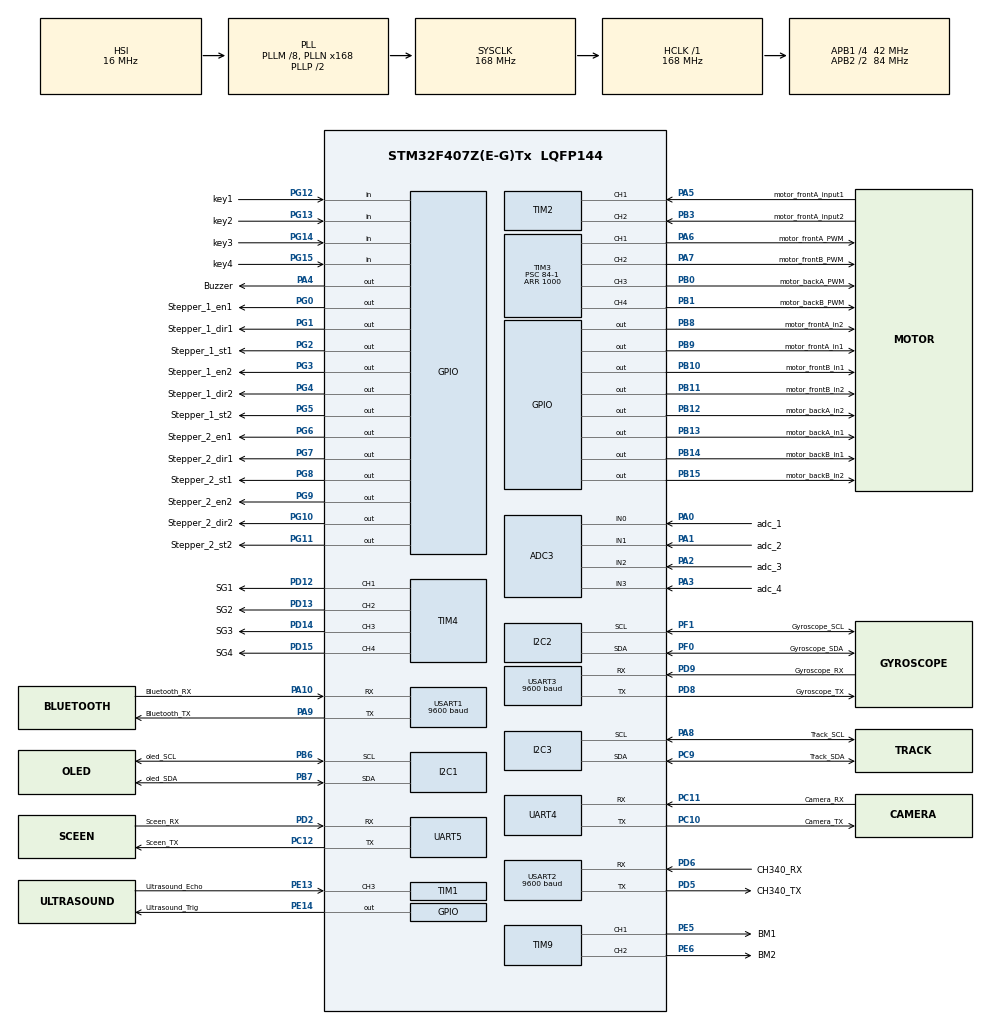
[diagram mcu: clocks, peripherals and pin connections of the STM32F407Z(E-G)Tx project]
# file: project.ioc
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ADC3.Channel-2\#ChannelRegularConversion=ADC_CHANNEL_0
ADC3.NbrOfConversionFlag=1
ADC3.Rank-2\#ChannelRegularConversion=1
ADC3.SamplingTime-2\#ChannelRegularConversion=ADC_SAMPLETIME_3CYCLES
Dma.Request0=USART1_RX
Dma.Request1=USART1_TX
Dma.USART1_RX.0.Direction=DMA_PERIPH_TO_MEMORY
Dma.USART1_RX.0.FIFOMode=DMA_FIFOMODE_DISABLE
Dma.USART1_RX.0.Instance=DMA2_Stream2
Dma.USART1_RX.0.MemDataAlignment=DMA_MDATAALIGN_BYTE
Dma.USART1_RX.0.MemInc=DMA_MINC_ENABLE
Dma.USART1_RX.0.Mode=DMA_NORMAL
Dma.USART1_RX.0.PeriphDataAlignment=DMA_PDATAALIGN_BYTE
Dma.USART1_RX.0.PeriphInc=DMA_PINC_DISABLE
Dma.USART1_RX.0.Priority=DMA_PRIORITY_LOW
Dma.USART1_TX.1.Direction=DMA_MEMORY_TO_PERIPH
Dma.USART1_TX.1.FIFOMode=DMA_FIFOMODE_DISABLE
Dma.USART1_TX.1.Instance=DMA2_Stream7
Dma.USART1_TX.1.MemDataAlignment=DMA_MDATAALIGN_BYTE
Dma.USART1_TX.1.MemInc=DMA_MINC_ENABLE
Dma.USART1_TX.1.Mode=DMA_NORMAL
Dma.USART1_TX.1.PeriphDataAlignment=DMA_PDATAALIGN_BYTE
Dma.USART1_TX.1.PeriphInc=DMA_PINC_DISABLE
Dma.USART1_TX.1.Priority=DMA_PRIORITY_LOW
Mcu.Family=STM32F4
Mcu.Name=STM32F407Z(E-G)Tx
Mcu.Package=LQFP144
NVIC.DMA2_Stream2_IRQn=true\:0\:0\:false\:false\:true\:false\:true\:true
NVIC.DMA2_Stream7_IRQn=true\:0\:0\:false\:false\:true\:false\:true\:true
NVIC.PriorityGroup=NVIC_PRIORITYGROUP_4
NVIC.TIM1_UP_TIM10_IRQn=true\:0\:0\:false\:false\:true\:true\:true\:true
NVIC.TIM2_IRQn=true\:0\:0\:false\:false\:true\:true\:true\:true
NVIC.TIM3_IRQn=true\:0\:0\:false\:false\:true\:true\:true\:true
NVIC.TIM4_IRQn=true\:0\:0\:false\:false\:true\:true\:true\:true
NVIC.TIM5_IRQn=true\:0\:0\:false\:false\:true\:true\:true\:true
NVIC.TIM6_DAC_IRQn=true\:0\:0\:false\:false\:true\:true\:true\:true
NVIC.TIM7_IRQn=true\:0\:0\:false\:false\:true\:true\:true\:true
NVIC.TIM8_UP_TIM13_IRQn=true\:0\:0\:false\:false\:true\:true\:true\:true
NVIC.UART4_IRQn=true\:0\:0\:false\:false\:true\:true\:true\:true
NVIC.UART5_IRQn=true\:0\:0\:false\:false\:true\:true\:true\:true
NVIC.USART1_IRQn=true\:0\:0\:false\:false\:true\:true\:true\:true
NVIC.USART2_IRQn=true\:0\:0\:false\:false\:true\:true\:true\:true
NVIC.USART3_IRQn=true\:0\:0\:false\:false\:true\:true\:true\:true
PA0-WKUP.GPIO_Label=adc_1
PA0-WKUP.Signal=ADCx_IN0
PA1.GPIO_Label=adc_2
PA1.Signal=ADCx_IN1
PA10.GPIO_Label=Bluetooth_RX
PA10.Mode=Asynchronous
PA10.Signal=USART1_RX
PA13.Mode=Serial_Wire
PA13.Signal=SYS_JTMS-SWDIO
PA14.Mode=Serial_Wire
PA14.Signal=SYS_JTCK-SWCLK
PA2.GPIO_Label=adc_3
PA2.Signal=ADCx_IN2
PA3.GPIO_Label=adc_4
PA3.Signal=ADCx_IN3
PA4.GPIO_Label=Buzzer
PA4.Signal=GPIO_Output
PA5.GPIO_Label=motor_frontA_input1
PA5.Signal=S_TIM2_CH1_ETR
PA6.GPIO_Label=motor_frontA_PWM
PA6.Signal=S_TIM3_CH1
PA7.GPIO_Label=motor_frontB_PWM
PA7.Signal=S_TIM3_CH2
PA8.GPIO_Label=Track_SCL
PA8.Mode=I2C
PA8.Signal=I2C3_SCL
PA9.GPIO_Label=Bluetooth_TX
PA9.Mode=Asynchronous
PA9.Signal=USART1_TX
PB0.GPIO_Label=motor_backA_PWM
PB0.Signal=S_TIM3_CH3
PB1.GPIO_Label=motor_backB_PWM
PB1.Signal=S_TIM3_CH4
PB10.GPIO_Label=motor_frontB_in1
PB10.Signal=GPIO_Output
PB11.GPIO_Label=motor_frontB_in2
PB11.Signal=GPIO_Output
PB12.GPIO_Label=motor_backA_in2
PB12.Signal=GPIO_Output
PB13.GPIO_Label=motor_backA_in1
PB13.Signal=GPIO_Output
PB14.GPIO_Label=motor_backB_in1
PB14.Signal=GPIO_Output
PB15.GPIO_Label=motor_backB_in2
PB15.Signal=GPIO_Output
PB3.GPIO_Label=motor_frontA_input2
PB3.Signal=S_TIM2_CH2
PB6.GPIO_Label=oled_SCL
PB6.Mode=I2C
PB6.Signal=I2C1_SCL
PB7.GPIO_Label=oled_SDA
PB7.Mode=I2C
PB7.Signal=I2C1_SDA
PB8.GPIO_Label=motor_frontA_in2
PB8.Signal=GPIO_Output
PB9.GPIO_Label=motor_frontA_in1
PB9.Signal=GPIO_Output
PC10.GPIO_Label=Camera_TX
PC10.GPIO_Speed=GPIO_SPEED_FREQ_VERY_HIGH
PC10.Mode=Asynchronous
PC10.Signal=UART4_TX
PC11.GPIO_Label=Camera_RX
PC11.Mode=Asynchronous
PC11.Signal=UART4_RX
PC12.GPIO_Label=Sceen_TX
PC12.Mode=Asynchronous
PC12.Signal=UART5_TX
PC14-OSC32_IN.Mode=LSE-External-Oscillator
PC14-OSC32_IN.Signal=RCC_OSC32_IN
PC15-OSC32_OUT.Mode=LSE-External-Oscillator
PC15-OSC32_OUT.Signal=RCC_OSC32_OUT
PC9.GPIO_Label=Track_SDA
PC9.Mode=I2C
PC9.Signal=I2C3_SDA
PD12.GPIO_Label=SG1
PD12.Signal=S_TIM4_CH1
PD13.GPIO_Label=SG2
PD13.Signal=S_TIM4_CH2
PD14.GPIO_Label=SG3
PD14.Signal=S_TIM4_CH3
PD15.GPIO_Label=SG4
PD15.Signal=S_TIM4_CH4
PD2.GPIO_Label=Sceen_RX
PD2.Mode=Asynchronous
PD2.Signal=UART5_RX
PD5.GPIO_Label=CH340_TX
PD5.Mode=Asynchronous
PD5.Signal=USART2_TX
PD6.GPIO_Label=CH340_RX
PD6.Mode=Asynchronous
PD6.Signal=USART2_RX
PD8.GPIO_Label=Gyroscope_TX
PD8.Mode=Asynchronous
PD8.Signal=USART3_TX
PD9.GPIO_Label=Gyroscope_RX
PD9.Mode=Asynchronous
PD9.Signal=USART3_RX
PE13.GPIO_Label=Ultrasound_Echo
PE13.Signal=S_TIM1_CH3
PE14.GPIO_Label=Ultrasound_Trig
PE14.Signal=GPIO_Output
PE5.GPIO_Label=BM1
PE5.Signal=S_TIM9_CH1
PE6.GPIO_Label=BM2
PE6.Signal=S_TIM9_CH2
PF0.GPIO_Label=Gyroscope_SDA
PF0.Mode=I2C
PF0.Signal=I2C2_SDA
PF1.GPIO_Label=Gyroscope_SCL
PF1.Mode=I2C
PF1.Signal=I2C2_SCL
PG0.GPIO_Label=Stepper_1_en1
PG0.Signal=GPIO_Output
PG1.GPIO_Label=Stepper_1_dir1
PG1.Signal=GPIO_Output
PG10.GPIO_Label=Stepper_2_dir2
PG10.Signal=GPIO_Output
PG11.GPIO_Label=Stepper_2_st2
PG11.Signal=GPIO_Output
PG12.GPIO_Label=key1
PG12.GPIO_PuPd=GPIO_PULLUP
PG12.Signal=GPIO_Input
PG13.GPIO_Label=key2
PG13.GPIO_PuPd=GPIO_PULLUP
PG13.Signal=GPIO_Input
PG14.GPIO_Label=key3
PG14.GPIO_PuPd=GPIO_PULLUP
PG14.Signal=GPIO_Input
PG15.GPIO_Label=key4
PG15.GPIO_PuPd=GPIO_PULLUP
PG15.Signal=GPIO_Input
PG2.GPIO_Label=Stepper_1_st1
PG2.Signal=GPIO_Output
PG3.GPIO_Label=Stepper_1_en2
PG3.Signal=GPIO_Output
PG4.GPIO_Label=Stepper_1_dir2
PG4.Signal=GPIO_Output
PG5.GPIO_Label=Stepper_1_st2
PG5.Signal=GPIO_Output
PG6.GPIO_Label=Stepper_2_en1
PG6.Signal=GPIO_Output
PG7.GPIO_Label=Stepper_2_dir1
PG7.Signal=GPIO_Output
PG8.GPIO_Label=Stepper_2_st1
PG8.Signal=GPIO_Output
PG9.GPIO_Label=Stepper_2_en2
PG9.Signal=GPIO_Output
PH0-OSC_IN.Mode=HSE-External-Oscillator
PH0-OSC_IN.Signal=RCC_OSC_IN
PH1-OSC_OUT.Mode=HSE-External-Oscillator
PH1-OSC_OUT.Signal=RCC_OSC_OUT
ProjectManager.HeapSize=0x200
ProjectManager.StackSize=0x400
ProjectManager.TargetToolchain=MDK-ARM V5.32
RCC.48MHZClocksFreq_Value=84000000
RCC.AHBFreq_Value=168000000
RCC.APB1CLKDivider=RCC_HCLK_DIV4
RCC.APB1Freq_Value=42000000
RCC.APB1TimFreq_Value=84000000
RCC.APB2CLKDivider=RCC_HCLK_DIV2
RCC.APB2Freq_Value=84000000
RCC.APB2TimFreq_Value=168000000
RCC.CortexFreq_Value=168000000
RCC.HCLKFreq_Value=168000000
RCC.HSE_VALUE=25000000
RCC.HSI_VALUE=16000000
RCC.PLLM=8
RCC.PLLN=168
RCC.SYSCLKFreq_VALUE=168000000
RCC.SYSCLKSource=RCC_SYSCLKSOURCE_PLLCLK
RCC.VCOOutputFreq_Value=336000000
SH.ADCx_IN0.0=ADC3_IN0,IN0
SH.ADCx_IN1.0=ADC3_IN1,IN1
SH.ADCx_IN2.0=ADC3_IN2,IN2
SH.ADCx_IN3.0=ADC3_IN3,IN3
SH.S_TIM1_CH3.0=TIM1_CH3,Input_Capture3_from_TI3
SH.S_TIM2_CH1_ETR.0=TIM2_CH1,Encoder_Interface
SH.S_TIM2_CH2.0=TIM2_CH2,Encoder_Interface
SH.S_TIM3_CH1.0=TIM3_CH1,PWM Generation1 CH1
SH.S_TIM3_CH2.0=TIM3_CH2,PWM Generation2 CH2
SH.S_TIM3_CH3.0=TIM3_CH3,PWM Generation3 CH3
SH.S_TIM3_CH4.0=TIM3_CH4,PWM Generation4 CH4
SH.S_TIM4_CH1.0=TIM4_CH1,PWM Generation1 CH1
SH.S_TIM4_CH2.0=TIM4_CH2,PWM Generation2 CH2
SH.S_TIM4_CH3.0=TIM4_CH3,PWM Generation3 CH3
SH.S_TIM4_CH4.0=TIM4_CH4,PWM Generation4 CH4
SH.S_TIM9_CH1.0=TIM9_CH1,PWM Generation1 CH1
SH.S_TIM9_CH2.0=TIM9_CH2,PWM Generation2 CH2
TIM1.Channel-Input_Capture3_from_TI3=TIM_CHANNEL_3
TIM1.Channel-Input_Capture4_from_TI3_63=TIM_CHANNEL_4
TIM2.EncoderMode=TIM_ENCODERMODE_TI12
TIM3.Channel-PWM\ Generation1\ CH1=TIM_CHANNEL_1
TIM3.Channel-PWM\ Generation2\ CH2=TIM_CHANNEL_2
TIM3.Channel-PWM\ Generation3\ CH3=TIM_CHANNEL_3
TIM3.Channel-PWM\ Generation4\ CH4=TIM_CHANNEL_4
TIM3.Period=1000
TIM3.Prescaler=84-1
TIM4.Channel-PWM\ Generation1\ CH1=TIM_CHANNEL_1
TIM4.Channel-PWM\ Generation2\ CH2=TIM_CHANNEL_2
TIM4.Channel-PWM\ Generation3\ CH3=TIM_CHANNEL_3
TIM4.Channel-PWM\ Generation4\ CH4=TIM_CHANNEL_4
TIM5.AutoReloadPreload=TIM_AUTORELOAD_PRELOAD_ENABLE
TIM5.Period=100-1
TIM5.Prescaler=84-1
TIM6.Period=100-1
TIM6.Prescaler=84-1
TIM7.Prescaler=84-1
TIM8.Period=1000-1
TIM8.Prescaler=840
TIM9.Channel-PWM\ Generation1\ CH1=TIM_CHANNEL_1
TIM9.Channel-PWM\ Generation2\ CH2=TIM_CHANNEL_2
UART4.VirtualMode=Asynchronous
UART5.VirtualMode=Asynchronous
USART1.BaudRate=9600
USART1.VirtualMode=VM_ASYNC
USART2.BaudRate=9600
USART2.VirtualMode=VM_ASYNC
USART3.BaudRate=9600
USART3.VirtualMode=VM_ASYNC
VP_TIM11_VS_ClockSourceINT.Mode=Enable_Timer
VP_TIM1_VS_ClockSourceINT.Mode=Internal
VP_TIM1_VS_indirect_ch3.Mode=Input_Capture4_from_TI3_63
VP_TIM3_VS_ClockSourceINT.Mode=Internal
VP_TIM4_VS_ClockSourceINT.Mode=Internal
VP_TIM5_VS_ClockSourceINT.Mode=Internal
VP_TIM6_VS_ClockSourceINT.Mode=Enable_Timer
VP_TIM7_VS_ClockSourceINT.Mode=Enable_Timer
VP_TIM8_VS_ClockSourceINT.Mode=Internal
VP_TIM9_VS_ClockSourceINT.Mode=Internal
board=custom

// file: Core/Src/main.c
/* USER CODE BEGIN Header */
/**
 ******************************************************************************
 * @file           : main.c
 * @brief          : Main program body
 ******************************************************************************
 * @attention
 *
 * Copyright (c) 2025 STMicroelectronics.
 * All rights reserved.
 *
 * This software is licensed under terms that can be found in the LICENSE file
 * in the root directory of this software component.
 * If no LICENSE file comes with this software, it is provided AS-IS.
 *
 ******************************************************************************
 */
/* USER CODE END Header */
#include "main.h"
#include "adc.h"
#include "dma.h"
#include "i2c.h"
#include "tim.h"
#include "usart.h"
#include "gpio.h"

/* USER CODE BEGIN Includes */
#include "oled.h"
#include <stdio.h>
#include "control.h"
#include "track.h"
#include "table.h"
#include "stepper.h"
#include "math.h"
#include "string.h"
#include "table.h"
/* USER CODE END Includes */

/* USER CODE BEGIN PD */
// 蓝牙接收数组
uint8_t recieve_buf[5];
// 蓝牙发送数组
uint8_t transmit_buf[20];
// 视觉接收数组
uint8_t RxCamera_buf[16];
// 视觉发送数组
uint8_t TxCamera_buf[6];

// 临时字符串
uint8_t temp_ZFC[20];

// 步进电机
extern int steppery_st; // 步进电机1初始步数
extern int stepperx_st; // 步进电机2初始步数
uint8_t test_if1 = 0, test_if2 = 0;

// 视觉收发相关
uint8_t uart_rx_byte;     // 单字节接收缓冲
uint8_t rx_index = 0;     // 接收索引
uint8_t packet_ready = 0; // 数据包准备标志
// 视觉接收数组
uint8_t carecieve_buf[16], rxprocess_buf[20];
// 视觉最终数组
int16_t camera_use[10];

// 陀螺仪接收参数
extern uint8_t Rxdata;
extern int m1, m2;
// 角度（自动解算）
float Roll_x, Pitch_y, Yaw_z;
// 角加速度
float Ax, Ay, Az;
// 角速度
float Gx, Gy, Gz;
// 模式选择
uint8_t menu;
// PID参数
float Kp = 0.5, Kd = 0.0, Ki = 0;

extern int steppery_speed; // 步进电机1速度
extern int stepperx_speed; // 步进电机2速度
uint8_t pid_flag = 0;
uint32_t nnn;

// 模式选择
uint8_t current_mode = 0; // 当前选中的模式：0=未选，1=模式1，2=模式2
// 子选项选择（仅模式1有效）
uint8_t current_sub_option = 0; // 当前选中的子选项：0=未选，1=Yaw，2=Dir_y，3=Pitch
// 子选项可选范围
const uint8_t YAW_MIN = 1, YAW_MAX = 4;
const uint8_t DIR_Y_MIN = 1, DIR_Y_MAX = 2;
const uint8_t PITCH_MIN = 1, PITCH_MAX = 3;
// 当前选中的选项的数值（由 state 控制）
uint8_t state = 1; // 当前被选中选项的数值，比如 Yaw = 3
// 是否正在运行
uint8_t is_running = 0; // 0 = 停止，1 = 运行
// 按键标志位（在中断里设置）
extern volatile uint8_t key1_flag; // key1：state 减1
extern volatile uint8_t key3_flag; // key3：state 加1
extern volatile uint8_t key2_flag; // key2：开始/停止
extern volatile uint8_t key4_flag; // key4：切换子选项 或 模式
uint8_t Clamp(uint8_t value, uint8_t min, uint8_t max);
uint8_t GetMinValue();
uint8_t GetMaxValue();
void Run_Current_Mode_Function();

    /* USER CODE END PD */

    /* Private macro -------------------------------------------------------------*/

    /* Private variables ---------------------------------------------------------*/

    /* Private function prototypes -----------------------------------------------*/
    void SystemClock_Config(void);

/* USER CODE BEGIN 0 */
int16_t tick;

/* USER CODE END 0 */

int main(void)
{

  /* MCU Configuration--------------------------------------------------------*/

  /* Reset of all peripherals, Initializes the Flash interface and the Systick. */
  HAL_Init();

  /* Configure the system clock */
  SystemClock_Config();

  /* Initialize all configured peripherals */
  MX_GPIO_Init();
  MX_DMA_Init();
  MX_ADC3_Init();
  MX_I2C1_Init();
  MX_I2C2_Init();
  MX_I2C3_Init();
  MX_TIM1_Init();
  MX_TIM2_Init();
  MX_TIM3_Init();
  MX_TIM4_Init();
  MX_TIM8_Init();
  MX_UART4_Init();
  MX_UART5_Init();
  MX_USART1_UART_Init();
  MX_USART2_UART_Init();
  MX_TIM9_Init();
  MX_TIM6_Init();
  MX_TIM5_Init();
  MX_USART3_UART_Init();
  MX_TIM7_Init();
  MX_TIM11_Init();
  /* USER CODE BEGIN 2 */
  // OLED_Init();
  // OLED_Clear();
  // OLED_ShowString(0, 0, "oled ready", 16);

  // 看我！！
  // 我把所有之前用12命名步进的地方变为了xy(见stepper.h)，包括后面的pid的传入参数也是xy注意一下
  // 陀螺仪接收中断
  HAL_UART_Receive_IT(&huart3, &Rxdata, 1);
  // 下面while（1）里有一个测试的蓝牙发送代码取注释掉看看串口，（如果是好的）把while（1）上面的那个代码取注释掉看看定义试试

  // 开启步进电机定时器中断
  HAL_TIM_Base_Start_IT(&htim6);
  HAL_TIM_Base_Start_IT(&htim7);
  HAL_TIM_Base_Start_IT(&htim8);

  // 步进电机初始化
  stepper_init(); // 步进电机初始化
                  // 蓝牙调参
  HAL_UART_Receive_IT(&huart1, recieve_buf, 5);

  // 视觉接收中断
  HAL_UART_Receive_IT(&huart4, &uart_rx_byte, 1);
  nnn = uwTick;
  /* USER CODE END 2 */

  /* Infinite loop */
  while (1)
  {

    /* USER CODE BEGIN 3 */

    // key1：当前选项 state 减 1
    if (key1_flag)
    {
      if (state > GetMinValue())
        state--;
      key1_flag = 0;
    }

    // key3：当前选项 state 加 1
    if (key3_flag)
    {
      if (state < GetMaxValue())
        state++;
      key3_flag = 0;
    }

    // key2：切换 is_running 状态（启动/停止）
    if (key2_flag)
    {
      is_running = !is_running;
      key2_flag = 0;
    }

    // key4：切换子选项（Yaw/Dir_y/Pitch） 或 切换模式
    if (key4_flag)
    {
      if (current_mode == 1)
      {
        // 模式1下：切换子选项 Yaw -> Dir_y -> Pitch -> Yaw...
        current_sub_option++;
        if (current_sub_option > 3)
          current_sub_option = 1;
      }
      else
      {
        // 模式2 或其它模式下：可以切换模式，比如 current_mode = 1 / 2
        current_mode++;
        if (current_mode > 2)
          current_mode = 1;
      }
      key4_flag = 0;
    }

    // --------------------------
    // 当前选项范围限制
    // --------------------------
    state = Clamp(state, GetMinValue(), GetMaxValue());

    // --------------------------
    // 如果当前模式正在运行，执行功能
    // --------------------------
    if (is_running)
    {
      Run_Current_Mode_Function();
    }

    cam_receive();
    if (!pid_flag)
    {
      if (camera_use[0] == 0x00)
      {
        stepperx_speed = 100;
        steppery_speed = 0;
      }
      if (camera_use[0] == 0x01)
      {
        stepperx_speed = 0;
        steppery_speed = 0;
      }
      if (camera_use[0] == 0x02)
      {
        pid_flag = 1;
        stepperx_speed = PIDUpdate(0, camera_use[1], x);
        steppery_speed = PIDUpdate(0, camera_use[2], y);
      }
      stepper_move_speed(y, steppery_speed);
      stepper_move_speed(x, -stepperx_speed);
    }
    else
    {
      stepperx_speed = PIDUpdate(0, camera_use[1], x);
      steppery_speed = PIDUpdate(0, camera_use[2], y);
      stepper_move_speed(y, steppery_speed / 20);
      stepper_move_speed(x, -stepperx_speed);
    }
    if (uwTick - nnn > 4000)
    {
      uint8_t buf[] = {0X6A, 0X00, 0X00, 0X00, 0X6B, 0X5A};
      HAL_UART_Transmit(&huart4, buf, 6, 1000);
    }
    printf(" %f, %f, %f,%d,%d,%d,%d\n", Kp, Kd, Ki, camera_use[1], stepperx_speed, camera_use[2], steppery_speed);
    // menu = mode_choose();
    // if (menu == 1)
    // {
    //   mode1();
    // }
    // if (menu == 2)
    // {
    //   mode2();
    // }
    // if (menu == 3)
    // {
    //   mode3();
    // }

    // 激光测试
    //  LASER_ON();
    //  HAL_Delay(1000);
    //  LASER_OFF();
    //  HAL_Delay(1000);

    // 陀螺仪调试
    //  sprintf((char *)temp_ZFC, "angle:%d   ", stcAngle.Angle[0]*180/32768 );
    //  OLED_ShowString(0, 0, temp_ZFC, 16);
    //  printf("%d\n",stcAngle.Angle[0]*180/32768);
    //  HAL_Delay(100);

    // 步进电机调参
    // if (stepperx_st >= 1600)
    // {

    // }
    // else if (stepperx_st <= -1600)
    // {
    // stepper_move_speed(x, 40);
    // }

    // float t = (HAL_GetTick() % 6283) / 1000.0f; // 6283约等于2π*1000
    // int temp1 = 40 * sin(t);//画圆
    // int temp2 = 40 * cos(t);//画圆
    // 蓝牙速度控制
    //     stepper_move_speed(x,m1);//齿轮比为10：100
    //     stepper_move_speed(y,m2);//齿轮比为10：50（控速函数我的写法是同样的数值输入到speed函数中实际转速相同，可以用vofa试试速度（电脑密码989898））
    // printf("%d,%d,%d,%d\n", steppery_st, stepperx_st,m1,m2);
    cam_receive();
    // printf("%d,%d,%d,%d,%d,%d\n",rxprocess_buf[0],rxprocess_buf[1],rxprocess_buf[2],camera_use[0],camera_use[1],camera_use[2]);
    // cam_process();
  }
  /* USER CODE END 3 */
}

void SystemClock_Config(void)
{
  RCC_OscInitTypeDef RCC_OscInitStruct = {0};
  RCC_ClkInitTypeDef RCC_ClkInitStruct = {0};

  /** Configure the main internal regulator output voltage
   */
  __HAL_RCC_PWR_CLK_ENABLE();
  __HAL_PWR_VOLTAGESCALING_CONFIG(PWR_REGULATOR_VOLTAGE_SCALE1);

  /** Initializes the RCC Oscillators according to the specified parameters
   * in the RCC_OscInitTypeDef structure.
   */
  RCC_OscInitStruct.OscillatorType = RCC_OSCILLATORTYPE_HSI;
  RCC_OscInitStruct.HSIState = RCC_HSI_ON;
  RCC_OscInitStruct.HSICalibrationValue = RCC_HSICALIBRATION_DEFAULT;
  RCC_OscInitStruct.PLL.PLLState = RCC_PLL_ON;
  RCC_OscInitStruct.PLL.PLLSource = RCC_PLLSOURCE_HSI;
  RCC_OscInitStruct.PLL.PLLM = 8;
  RCC_OscInitStruct.PLL.PLLN = 168;
  RCC_OscInitStruct.PLL.PLLP = RCC_PLLP_DIV2;
  RCC_OscInitStruct.PLL.PLLQ = 4;
  if (HAL_RCC_OscConfig(&RCC_OscInitStruct) != HAL_OK)
  {
    Error_Handler();
  }

  /** Initializes the CPU, AHB and APB buses clocks
   */
  RCC_ClkInitStruct.ClockType = RCC_CLOCKTYPE_HCLK | RCC_CLOCKTYPE_SYSCLK | RCC_CLOCKTYPE_PCLK1 | RCC_CLOCKTYPE_PCLK2;
  RCC_ClkInitStruct.SYSCLKSource = RCC_SYSCLKSOURCE_PLLCLK;
  RCC_ClkInitStruct.AHBCLKDivider = RCC_SYSCLK_DIV1;
  RCC_ClkInitStruct.APB1CLKDivider = RCC_HCLK_DIV4;
  RCC_ClkInitStruct.APB2CLKDivider = RCC_HCLK_DIV2;

  if (HAL_RCC_ClockConfig(&RCC_ClkInitStruct, FLASH_LATENCY_5) != HAL_OK)
  {
    Error_Handler();
  }
}

/* USER CODE BEGIN 4 */

// 串口重定向
#ifdef __GNUC__
// GCC编译器版本（STM32CubeIDE使用）
int _write(int file, char *ptr, int len)
{
  HAL_UART_Transmit(&huart1, (uint8_t *)ptr, len, HAL_MAX_DELAY);
  return len;
}

#elif defined(__CC_ARM) || defined(__ARMCC_VERSION)
// Keil MDK-ARM编译器版本
int fputc(int ch, FILE *f)
{
  HAL_UART_Transmit(&huart1, (uint8_t *)&ch, 1, HAL_MAX_DELAY);
  return ch;
}

int fgetc(FILE *f)
{
  uint8_t ch = 0;
  HAL_UART_Receive(&huart1, &ch, 1, HAL_MAX_DELAY);
  return ch;
}

#endif
// 字节转浮点数函数
float bytes_to_float(uint8_t b0, uint8_t b1, uint8_t b2, uint8_t b3)
{
  unsigned char data[] = {b0, b1, b2, b3};
  return *(float *)data;
}

// 摄像头处理函数
void cam_receive(void)
{
  // 在主循环中处理接收到的完整数据包
  if (packet_ready)
  {
    packet_ready = 0;

    // 验证数据包
    uint32_t sum = 0;
    for (int i = 0; i < 14; i++)
    {
      sum += carecieve_buf[i];
    }
    sum = sum & 0xff;

    // // 显示调试信息
    // OLED_ShowNum(0, 0, recieve_buf[0], 5, 16);
    // OLED_ShowNum(0, 2, recieve_buf[1], 5, 16);
    // OLED_ShowNum(0, 4, recieve_buf[2], 5, 16);
    // OLED_ShowNum(0, 6, recieve_buf[3], 5, 16);
    // OLED_ShowNum(64, 0, recieve_buf[4], 5, 16);
    // OLED_ShowNum(64, 2, recieve_buf[5], 5, 16);
    // OLED_ShowNum(64, 4, recieve_buf[14], 5, 16);
    // OLED_ShowNum(64, 6, recieve_buf[15], 5, 16);

    // 验证帧头、帧尾和校验和
    if (carecieve_buf[0] == 0x6A && carecieve_buf[15] == 0x5A && carecieve_buf[14] == sum)
    {
      // 数据包有效，复制到处理缓冲区
      memcpy(&rxprocess_buf[0], &carecieve_buf[1], 13);
    }
    else
    {
      // printf("Invalid packet: head=%02X, tail=%02X, checksum=%02X, calc=%02X\n",
      //        carecieve_buf[0], carecieve_buf[15], carecieve_buf[14], (uint8_t)sum);
    }

    // printf("%x,%x,%x,%x,%x,%x,%x,%x,%x,%x,%x,%x,%x,%x,%x,%x,%x\n",
    //        carecieve_buf[0], carecieve_buf[1], carecieve_buf[2], carecieve_buf[3],
    //        carecieve_buf[4], carecieve_buf[5], carecieve_buf[6], carecieve_buf[7],
    //        carecieve_buf[8], carecieve_buf[9], carecieve_buf[10], carecieve_buf[11],
    //        carecieve_buf[12], carecieve_buf[13], carecieve_buf[14], carecieve_buf[15], carecieve_buf[16]);
    cam_process();
  }
}
// 视觉处理
void cam_process(void)
{
  camera_use[0] = (uint8_t)rxprocess_buf[0];                                                // 0未找到|1找到未确定|2确认找到
  camera_use[1] = (int16_t)((uint8_t)rxprocess_buf[1]) | (uint16_t)(rxprocess_buf[2] << 8); // dx
  camera_use[2] = (int16_t)((uint8_t)rxprocess_buf[3]) | (uint16_t)(rxprocess_buf[4] << 8); // dy
  camera_use[3] = (int16_t)((uint8_t)rxprocess_buf[1]) | (uint16_t)(rxprocess_buf[6] << 8); // pitch
  camera_use[4] = (int16_t)((uint8_t)rxprocess_buf[3]) | (uint16_t)(rxprocess_buf[8] << 8); // yaw
}

// 模式选择相关函数
uint8_t Clamp(uint8_t value, uint8_t min, uint8_t max) //  限制 value 在 [min, max] 范围内，超出则截断
{
  if (value < min)
    return min;
  if (value > max)
    return max;
  return value;
}
uint8_t GetMinValue()// 根据当前选中的子选项返回最小值
{
  switch (current_sub_option)
  {
  case 1:
    return YAW_MIN; // Yaw: 1~4
  case 2:
    return DIR_Y_MIN; // Dir_y: 1~2
  case 3:
    return PITCH_MIN; // Pitch: 1~3
  default:
    return 1; // 默认最小值
  }
}
uint8_t GetMaxValue()// 根据当前选中的子选项返回最大值
{
  switch (current_sub_option)
  {
  case 1:
    return YAW_MAX; // Yaw: 1~4
  case 2:
    return DIR_Y_MAX; // Dir_y: 1~2
  case 3:
    return PITCH_MAX; // Pitch: 1~3
  default:
    return 1; // 默认最大值
  }
}
void Run_Current_Mode_Function() //根据当前模式和选项执行功能
{
  if (current_mode == 1)
  {
    // 模式 1：根据当前选中的子选项执行对应功能
    switch (current_sub_option)
    {
    case 1:
      // 执行 Yaw 相关功能，比如控制电机角度、显示等
      // 示例：printf("Mode 1 - Yaw: %d\n", state);
      break;
    case 2:
      // 执行 Dir_y 相关功能
      // printf("Mode 1 - Dir_y: %d\n", state);
      break;
    case 3:
      // 执行 Pitch 相关功能
      // printf("Mode 1 - Pitch: %d\n", state);
      break;
    }
  }
  else if (current_mode == 2)
  {
    // 模式 2：无子选项，执行模式2的功能
    // printf("Mode 2 is running\n");
  }
}

/* USER CODE END 4 */

void Error_Handler(void)
{
  __disable_irq();
  while (1)
  {
  }
}
